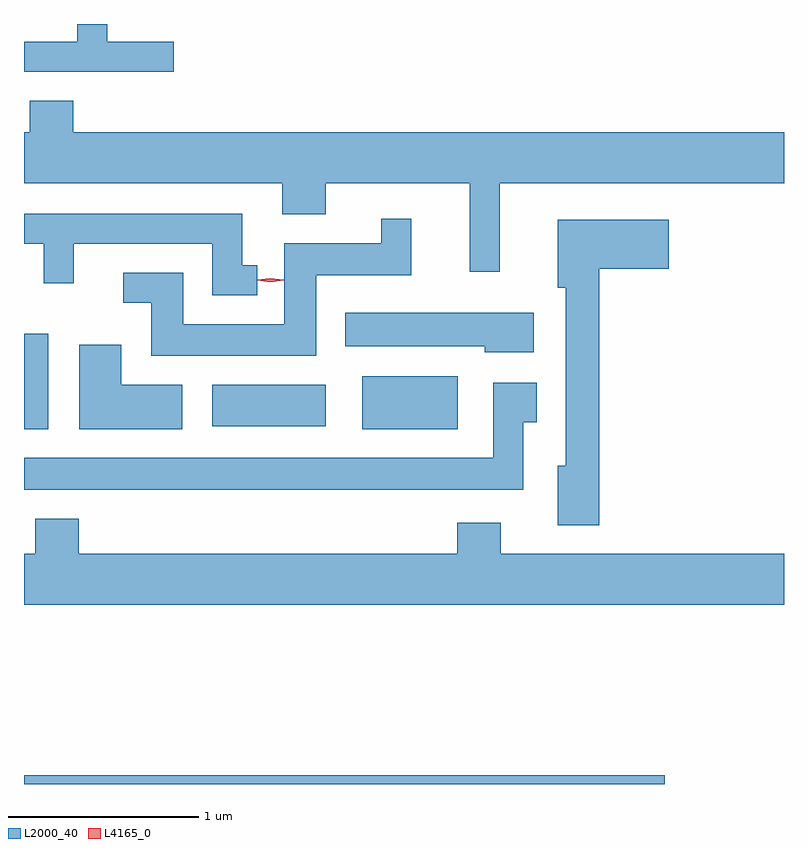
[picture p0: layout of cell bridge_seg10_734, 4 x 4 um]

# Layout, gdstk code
import gdstk
lib = gdstk.Library(unit=1e-6, precision=1e-09)
def R(c, l, rs):  # rectangles x0, y0, x1, y1
    for r in rs: c.add(gdstk.rectangle(r[:2], r[2:], *l))
def P(c, l, *ps):  # polygons
    for p in ps: c.add(gdstk.Polygon(p, *l))
L2000_40 = (2000, 40)
L4165_0 = (4165, 0)

bridge_seg10_734 = lib.new_cell('bridge_seg10_734')
R(bridge_seg10_734, L2000_40, [(582.471,2181.793,585.844,2181.839), (582.471,2183.661,582.599,2184.164), (584.251,2183.661,584.754,2183.939), (583.461,2183.676,584.059,2183.894)])
P(bridge_seg10_734, L2000_40, [(583.258,2185.699),(582.909,2185.699),(582.909,2185.793),(582.751,2185.793),(582.751,2185.699),(582.471,2185.699),(582.471,2185.541),(583.258,2185.541)],
  [(584.974,2184.956),(586.471,2184.956),(586.471,2185.224),(582.729,2185.224),(582.729,2185.389),(582.501,2185.389),(582.501,2185.224),(582.471,2185.224),(582.471,2184.956),(583.831,2184.956),(583.831,2184.791),(584.059,2184.791),(584.059,2184.956),(584.816,2184.956),(584.816,2184.488),(584.974,2184.488)],
  [(583.698,2184.524),(583.619,2184.524),(583.619,2184.794),(582.471,2184.794),(582.471,2184.636),(582.576,2184.636),(582.576,2184.428),(582.734,2184.428),(582.734,2184.636),(583.461,2184.636),(583.461,2184.366),(583.698,2184.366)],
  [(584.009,2184.471),(584.509,2184.471),(584.509,2184.768),(584.351,2184.768),(584.351,2184.639),(583.841,2184.639),(583.841,2184.214),(583.309,2184.214),(583.309,2184.484),(582.993,2184.484),(582.993,2184.326),(583.141,2184.326),(583.141,2184.046),(584.009,2184.046)],
  [(585.499,2184.506),(585.864,2184.506),(585.864,2184.764),(585.281,2184.764),(585.281,2184.406),(585.321,2184.406),(585.321,2183.469),(585.281,2183.469),(585.281,2183.156),(585.499,2183.156)],
  [(585.154,2184.274),(584.161,2184.274),(584.161,2184.096),(584.896,2184.096),(584.896,2184.066),(585.154,2184.066)],
  [(583.304,2183.894),(582.984,2183.894),(582.984,2184.104),(582.761,2184.104),(582.761,2183.661),(583.304,2183.661)],
  [(585.099,2183.696),(585.169,2183.696),(585.169,2183.904),(584.941,2183.904),(584.941,2183.509),(582.471,2183.509),(582.471,2183.341),(585.099,2183.341)],
  [(586.471,2183.004),(584.979,2183.004),(584.979,2183.169),(584.751,2183.169),(584.751,2183.004),(582.759,2183.004),(582.759,2183.189),(582.531,2183.189),(582.531,2183.004),(582.471,2183.004),(582.471,2182.736),(586.471,2182.736)])
P(bridge_seg10_734, L4165_0, [(583.768,2184.435),(583.699,2184.444),(583.699,2184.445),(583.699,2184.446),(583.768,2184.455),(583.838,2184.446),(583.838,2184.445),(583.838,2184.444)])

lib.write_gds('bridge_seg10_734.gds')
